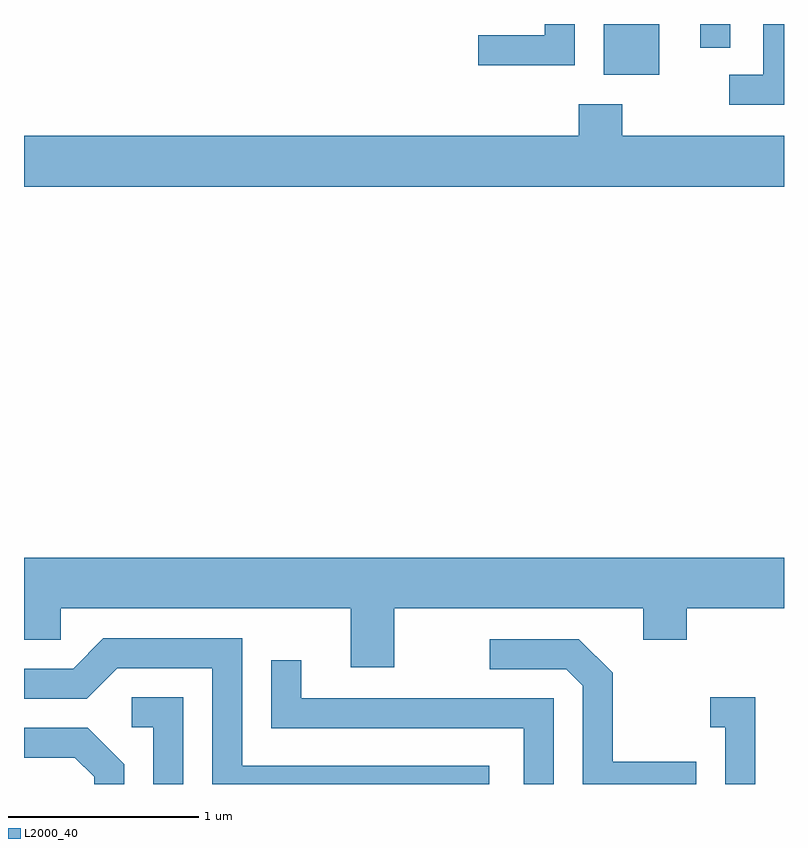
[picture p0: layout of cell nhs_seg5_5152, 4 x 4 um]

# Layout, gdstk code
import gdstk
lib = gdstk.Library(unit=1e-6, precision=1e-09)
def R(c, l, rs):  # rectangles x0, y0, x1, y1
    for r in rs: c.add(gdstk.rectangle(r[:2], r[2:], *l))
def P(c, l, *ps):  # polygons
    for p in ps: c.add(gdstk.Polygon(p, *l))
L2000_40 = (2000, 40)

nhs_seg5_5152 = lib.new_cell('nhs_seg5_5152')
R(nhs_seg5_5152, L2000_40, [(340.661,1481.806,340.954,1482.072), (341.171,1481.948,341.329,1482.072)])
P(nhs_seg5_5152, L2000_40, [(340.509,1482.072),(340.351,1482.072),(340.351,1482.014),(340.003,1482.014),(340.003,1481.856),(340.509,1481.856)],
  [(341.611,1482.072),(341.501,1482.072),(341.501,1481.804),(341.323,1481.804),(341.323,1481.646),(341.611,1481.646)],
  [(341.611,1481.484),(340.759,1481.484),(340.759,1481.649),(340.531,1481.649),(340.531,1481.484),(337.611,1481.484),(337.611,1481.216),(341.611,1481.216)],
  [(339.559,1478.996),(340.871,1478.996),(340.871,1478.831),(341.099,1478.831),(341.099,1478.996),(341.611,1478.996),(341.611,1479.264),(337.611,1479.264),(337.611,1478.831),(337.804,1478.831),(337.804,1478.996),(339.331,1478.996),(339.331,1478.686),(339.559,1478.686)],
  [(340.059,1478.169),(338.759,1478.169),(338.759,1478.839),(338.029,1478.839),(337.869,1478.679),(337.611,1478.679),(337.611,1478.521),(337.942,1478.521),(338.102,1478.681),(338.601,1478.681),(338.601,1478.072),(340.059,1478.072)],
  [(341.149,1478.189),(340.709,1478.189),(340.709,1478.657),(340.532,1478.834),(340.063,1478.834),(340.063,1478.676),(340.464,1478.676),(340.551,1478.589),(340.551,1478.072),(341.149,1478.072)],
  [(340.399,1478.524),(339.069,1478.524),(339.069,1478.723),(338.911,1478.723),(338.911,1478.366),(340.241,1478.366),(340.241,1478.072),(340.399,1478.072)],
  [(338.449,1478.529),(338.178,1478.529),(338.178,1478.371),(338.291,1478.371),(338.291,1478.072),(338.449,1478.072)],
  [(341.459,1478.529),(341.223,1478.529),(341.223,1478.371),(341.301,1478.371),(341.301,1478.072),(341.459,1478.072)],
  [(338.139,1478.177),(337.947,1478.369),(337.611,1478.369),(337.611,1478.211),(337.879,1478.211),(337.981,1478.109),(337.981,1478.072),(338.139,1478.072)])

lib.write_gds('nhs_seg5_5152.gds')
